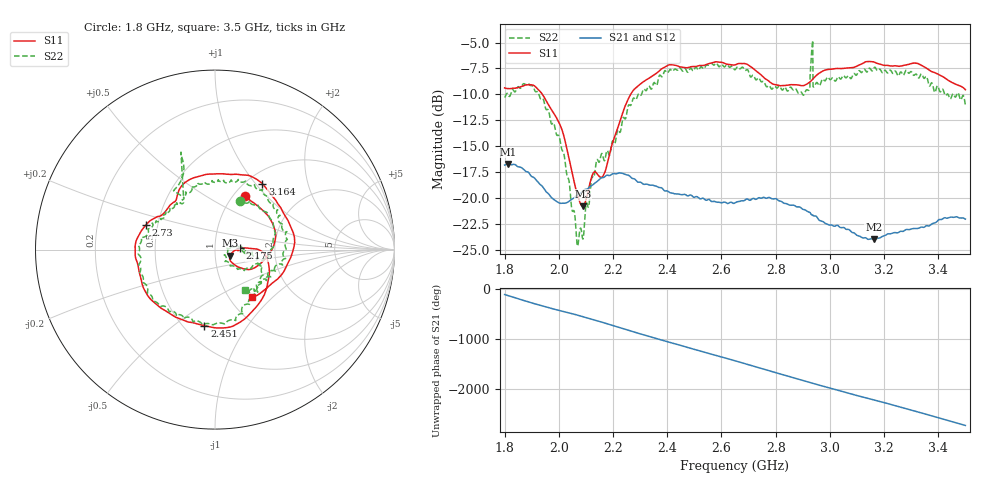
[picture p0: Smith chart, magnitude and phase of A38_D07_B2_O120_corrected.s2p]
! Created with skrf 1.9.0 (http://scikit-rf.org).
# Hz S RI R 50.0
!freq ReS11 ImS11 ReS21 ImS21 ReS12 ImS12 ReS22 ImS22
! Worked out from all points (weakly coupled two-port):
!   1601 points, 1.8 GHz to 3.5 GHz, reference 50 ohm
!   highest |S21| = -16.71 dB at 1.812 GHz (marker M1); lowest = -24.0 dB at 3.162 GHz (marker M2)
!   lowest |S11| = -20.8 dB at 2.089 GHz (marker M3), VSWR 1.20, Z = 59.2 - j3.95 ohm
!   |S11| at or under -10 dB: 1.94 GHz to 2.265 GHz (325.4 MHz wide, 15.5 % of centre)
!   |S22| runs from -24.6 to -4.8 dB; largest |S21 - S12| = 0.0026
!   S11 on the Smith chart (normalised r, x): 1.8 GHz: 1.12, +0.76; 2.175 GHz: 1.32, +0.03; 2.451 GHz: 0.63, -0.65; 2.73 GHz: 0.43, +0.14; 3.164 GHz: 1.17, +1.09; 3.5 GHz: 1.26, -0.75
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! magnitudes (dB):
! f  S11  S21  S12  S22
! 1.8 GHz  -9.4  -16.8  -16.8  -10.3
! 1.812 GHz  -9.4  -16.7  -16.7  -10.0
! 1.885 GHz  -9.1  -17.5  -17.5  -8.9
! 1.942 GHz  -10.1  -19.0  -19.0  -10.4
! 2.01 GHz  -13.3  -20.5  -20.5  -15.2
! 2.067 GHz  -19.5  -19.7  -19.7  -24.3
! 2.084 GHz  -20.7  -19.5  -19.4  -23.2
! 2.089 GHz  -20.8  -19.3  -19.4  -24.0
! 2.137 GHz  -17.5  -18.5  -18.5  -16.7
! 2.175 GHz  -17.1  -17.8  -17.8  -15.6
! 2.263 GHz  -10.1  -17.9  -17.9  -11.1
! 2.367 GHz  -7.8  -19.0  -18.9  -8.5
! 2.451 GHz  -7.4  -19.7  -19.7  -7.6
! 2.65 GHz  -7.2  -20.5  -20.4  -7.6
! 2.73 GHz  -7.8  -20.1  -20.1  -8.6
! 2.902 GHz  -9.2  -21.1  -21.1  -10.1
! 2.934 GHz  -8.6  -21.6  -21.6  -5.5
! 2.946 GHz  -8.3  -21.7  -21.8  -9.1
! 3.162 GHz  -6.9  -24.0  -23.9  -7.5
! 3.164 GHz  -6.9  -24.0  -24.0  -7.4
! 3.217 GHz  -7.2  -23.5  -23.4  -7.8
! 3.5 GHz  -9.6  -22.0  -22.0  -11.0
